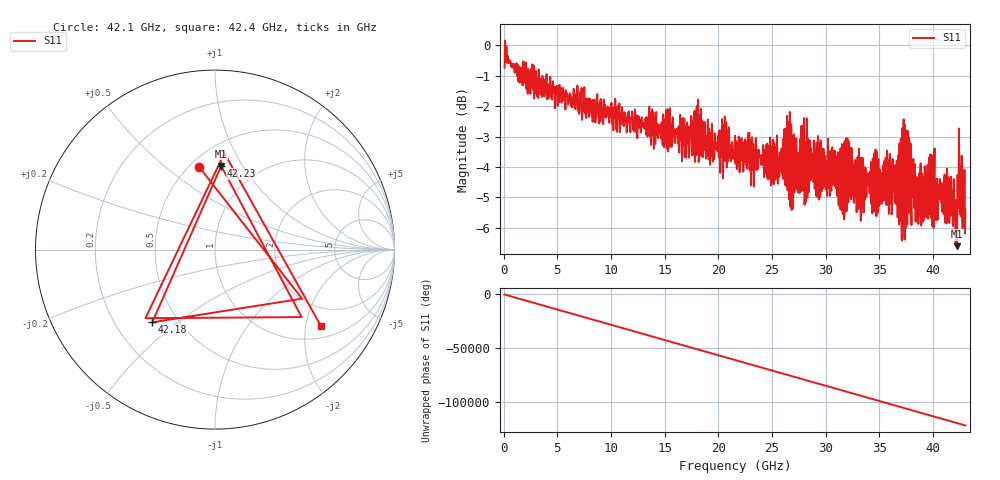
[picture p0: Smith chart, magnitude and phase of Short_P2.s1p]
# Hz S RI R 50.000000
! Metas.Vna.Tools, 2.9.9438.25149
! Metas.Vna.Data, 2.9.9438.25100
! Created: UTC 2026.07.01 05:49:21
! FREQ  re:S2,2  im:S2,2
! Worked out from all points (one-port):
!   1001 points, 100 MHz to 43 GHz, reference 50 ohm
!   lowest |S11| = -6.6 dB at 42.23 GHz (marker M1), VSWR 2.75, Z = 34 + j40.5 ohm
!   |S11| at or under -10 dB: nowhere
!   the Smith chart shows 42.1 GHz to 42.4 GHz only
!   S11 on the Smith chart (normalised r, x): 42.1 GHz: 0.56, +0.66; 42.18 GHz: 0.36, -0.41; 42.23 GHz: 0.68, +0.81; 42.4 GHz: 1.33, -2.44
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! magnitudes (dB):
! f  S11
! 100 MHz  -0.7
! 5.463 GHz  -1.5
! 10.82 GHz  -2.9
! 16.19 GHz  -2.7
! 21.55 GHz  -3.0
! 26.83 GHz  -5.4
! 26.91 GHz  -3.0
! 28.41 GHz  -4.8
! 29.27 GHz  -3.0
! 29.74 GHz  -4.7
! 32.27 GHz  -3.4
! 36.87 GHz  -3.2
! 37.08 GHz  -6.4
! 37.12 GHz  -2.7
! 37.64 GHz  -2.8
! 37.72 GHz  -5.5
! 37.77 GHz  -3.0
! 37.98 GHz  -5.9
! 39.1 GHz  -4.3
! 39.65 GHz  -5.6
! 40.38 GHz  -4.4
! 41.24 GHz  -5.9
! 42.1 GHz  -6.6
! 42.18 GHz  -5.4
! 42.23 GHz  -6.6
! 42.4 GHz  -2.7
! 42.49 GHz  -5.6
! 43 GHz  -5.4
